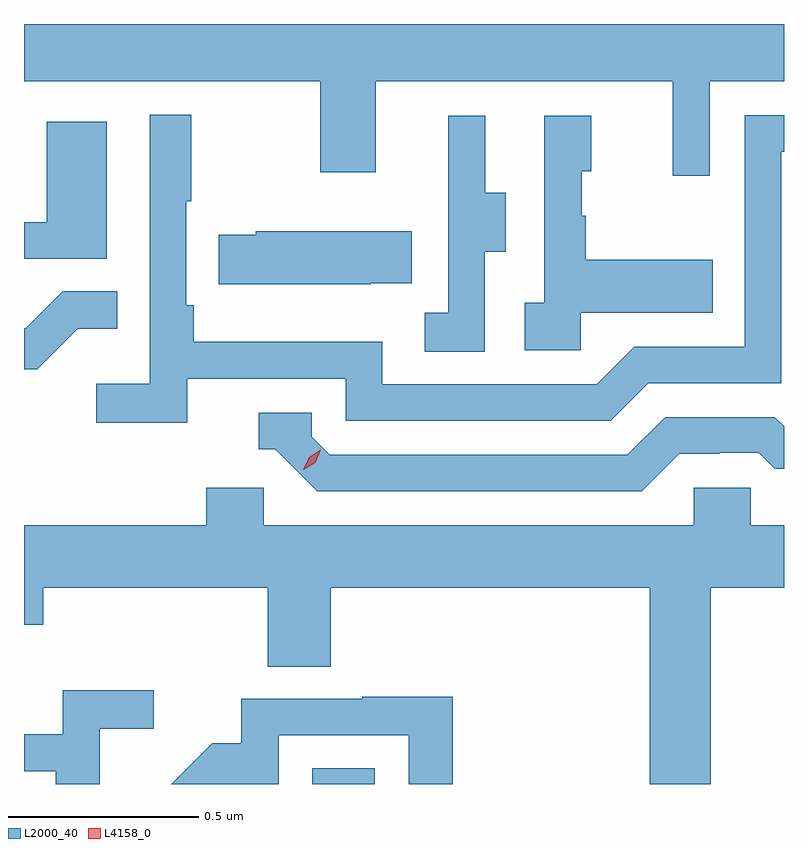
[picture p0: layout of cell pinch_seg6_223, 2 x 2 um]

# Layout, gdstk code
import gdstk
lib = gdstk.Library(unit=1e-6, precision=1e-09)
def R(c, l, rs):  # rectangles x0, y0, x1, y1
    for r in rs: c.add(gdstk.rectangle(r[:2], r[2:], *l))
def P(c, l, *ps):  # polygons
    for p in ps: c.add(gdstk.Polygon(p, *l))
L2000_40 = (2000, 40)
L4158_0 = (4158, 0)

pinch_seg6_223 = lib.new_cell('pinch_seg6_223')
R(pinch_seg6_223, L2000_40, [(1079.114,924.175,1079.278,924.217)])
P(pinch_seg6_223, L2000_40, [(1080.159,926.024),(1080.355,926.024),(1080.355,926.175),(1078.355,926.175),(1078.355,926.024),(1079.134,926.024),(1079.134,925.785),(1079.281,925.785),(1079.281,926.024),(1080.062,926.024),(1080.062,925.776),(1080.159,925.776)],
  [(1078.784,925.242),(1079.202,925.242),(1079.202,925.131),(1079.899,925.131),(1079.998,925.23),(1080.348,925.23),(1080.348,925.839),(1080.355,925.839),(1080.355,925.935),(1080.252,925.935),(1080.252,925.326),(1079.961,925.326),(1079.862,925.227),(1079.298,925.227),(1079.298,925.339),(1078.802,925.339),(1078.802,925.435),(1078.782,925.435),(1078.782,925.708),(1078.795,925.708),(1078.795,925.936),(1078.686,925.936),(1078.686,925.228),(1078.545,925.228),(1078.545,925.126),(1078.784,925.126)],
  [(1079.82,925.415),(1080.167,925.415),(1080.167,925.555),(1079.833,925.555),(1079.833,925.67),(1079.823,925.67),(1079.823,925.788),(1079.848,925.788),(1079.848,925.933),(1079.724,925.933),(1079.724,925.442),(1079.673,925.442),(1079.673,925.317),(1079.82,925.317)],
  [(1079.568,925.576),(1079.623,925.576),(1079.623,925.731),(1079.569,925.731),(1079.569,925.933),(1079.471,925.933),(1079.471,925.719),(1079.472,925.719),(1079.472,925.415),(1079.409,925.415),(1079.409,925.312),(1079.568,925.312)],
  [(1078.573,925.918),(1078.415,925.918),(1078.415,925.653),(1078.355,925.653),(1078.355,925.557),(1078.573,925.557)],
  [(1079.267,925.493),(1079.375,925.493),(1079.375,925.63),(1078.965,925.63),(1078.965,925.62),(1078.867,925.62),(1078.867,925.49),(1079.267,925.49)],
  [(1078.497,925.373),(1078.601,925.373),(1078.601,925.472),(1078.457,925.472),(1078.359,925.374),(1078.355,925.374),(1078.355,925.266),(1078.39,925.266)],
  [(1080.079,925.044),(1080.186,925.044),(1080.186,925.047),(1080.289,925.047),(1080.331,925.005),(1080.355,925.005),(1080.355,925.116),(1080.331,925.14),(1080.042,925.14),(1079.943,925.041),(1079.16,925.041),(1079.112,925.089),(1079.112,925.152),(1078.973,925.152),(1078.973,925.056),(1079.016,925.056),(1079.127,924.945),(1079.98,924.945)],
  [(1080.162,924.692),(1080.355,924.692),(1080.355,924.856),(1080.267,924.856),(1080.267,924.954),(1080.117,924.954),(1080.117,924.856),(1078.986,924.856),(1078.986,924.954),(1078.835,924.954),(1078.835,924.856),(1078.355,924.856),(1078.355,924.594),(1078.406,924.594),(1078.406,924.692),(1078.997,924.692),(1078.997,924.484),(1079.162,924.484),(1079.162,924.692),(1080.002,924.692),(1080.002,924.175),(1080.162,924.175)],
  [(1078.554,924.32),(1078.696,924.32),(1078.696,924.422),(1078.457,924.422),(1078.457,924.306),(1078.355,924.306),(1078.355,924.209),(1078.438,924.209),(1078.438,924.175),(1078.554,924.175)],
  [(1079.025,924.303),(1079.367,924.303),(1079.367,924.175),(1079.483,924.175),(1079.483,924.404),(1079.245,924.404),(1079.245,924.399),(1078.927,924.399),(1078.927,924.282),(1078.85,924.282),(1078.743,924.175),(1079.025,924.175)])
P(pinch_seg6_223, L4158_0, [(1079.09,925.002),(1079.09,925.002),(1079.106,925.035),(1079.136,925.054),(1079.136,925.054),(1079.136,925.054),(1079.121,925.021),(1079.09,925.002)])

lib.write_gds('pinch_seg6_223.gds')
